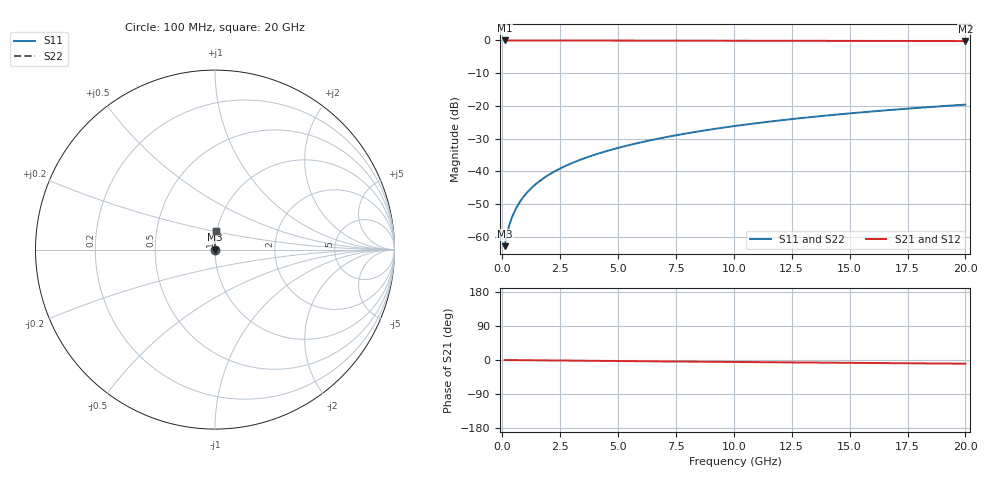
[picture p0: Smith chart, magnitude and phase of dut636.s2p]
! Touchstone file exported from HFSS 2024.1.0
!  File:  C:/UserFiles/LocalFiles/RDL_TSV_Batchsim/temp_RDL_bottom_636_1779784707.aedt
!  Generated:  04:40:36 PM May 26, 2026
!  Design:  RDL_bottom
!  Project:  temp_RDL_bottom_636_1779784707
!  Setup:  Setup1
!  Solution:  Sweep
! Variables:
!  dtsv = 10.80580581um
!  hbump = 3um
!  htsv = 94.98um
!  ldown = 115.55um
!  lrdl = 100um
!  p = 40
!  p1 = 49.58um
!  rhole = 1um
!  t = 450um
!  tdown = 4.61um
!  trdl = 3.915915916um
!  wdown = 25.11um
!  wrdl = 20um
# GHz S MA R 50.000000
! Terminal data exported
! Port[1] = RDL1_T1
! Port[2] = RDL1_T2
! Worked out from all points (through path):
!   200 points, 100 MHz to 20 GHz, reference 50 ohm
!   highest |S21| = 0.00 dB at 100 MHz (marker M1); lowest = -0.2 dB at 20 GHz (marker M2)
!   group delay of S21, straight-line fit = 1.34 ps
!   lowest |S11| = -62.8 dB at 100 MHz (marker M3), VSWR 1.00, Z = 50.1 + j0.0486 ohm
!   |S11| at or under -10 dB: start of sweep to end of sweep
!   |S22| runs from -62.8 to -19.6 dB; largest |S21 - S12| = 4.9e-15
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0.1  0.0007213 42.3  0.9995 -0.1  0.9995 -0.1  0.0007213 42.3
! Gamma 0 0 0 0
! Port Impedance 50 0 50 0
0.2  0.0011 59.0  0.9994 -0.1  0.9994 -0.1  0.0011 59.0
0.3  0.001503 66.8  0.9994 -0.2  0.9994 -0.2  0.001503 66.8
0.4  0.001912 71.6  0.9993 -0.2  0.9993 -0.2  0.001912 71.6
0.5  0.002326 74.8  0.9993 -0.3  0.9993 -0.3  0.002326 74.8
0.6  0.002745 77.1  0.9993 -0.3  0.9993 -0.3  0.002745 77.1
0.8  0.003595 80.4  0.9992 -0.5  0.9992 -0.5  0.003595 80.4
1.1  0.004887 83.3  0.9991 -0.6  0.9991 -0.6  0.004887 83.3
1.5  0.006633 85.6  0.9989 -0.9  0.9989 -0.9  0.006633 85.6
1.8  0.007955 86.8  0.9987 -1.0  0.9987 -1.0  0.007955 86.8
2.1  0.009288 87.7  0.9985 -1.2  0.9985 -1.2  0.009288 87.7
2.7  0.01199 89.0  0.998 -1.5  0.998 -1.5  0.01199 89.0
3.5  0.01567 90.2  0.9972 -2.0  0.9972 -2.0  0.01567 90.2
4.2  0.01897 90.9  0.9964 -2.3  0.9964 -2.3  0.01898 90.9
5  0.02285 91.5  0.9955 -2.7  0.9955 -2.7  0.02285 91.5
5.9  0.02734 91.9  0.9943 -3.2  0.9943 -3.2  0.02734 91.9
6.8  0.03196 92.0  0.9932 -3.6  0.9932 -3.6  0.03196 92.0
8.4  0.04042 91.9  0.9911 -4.4  0.9911 -4.4  0.04042 91.9
10.1  0.04966 91.4  0.9891 -5.2  0.9891 -5.2  0.04967 91.4
13.4  0.06799 89.7  0.9854 -6.8  0.9854 -6.8  0.06799 89.7
16.7  0.08642 87.7  0.9821 -8.3  0.9821 -8.3  0.08642 87.7
20  0.1047 85.7  0.9789 -9.8  0.9789 -9.8  0.1047 85.7
